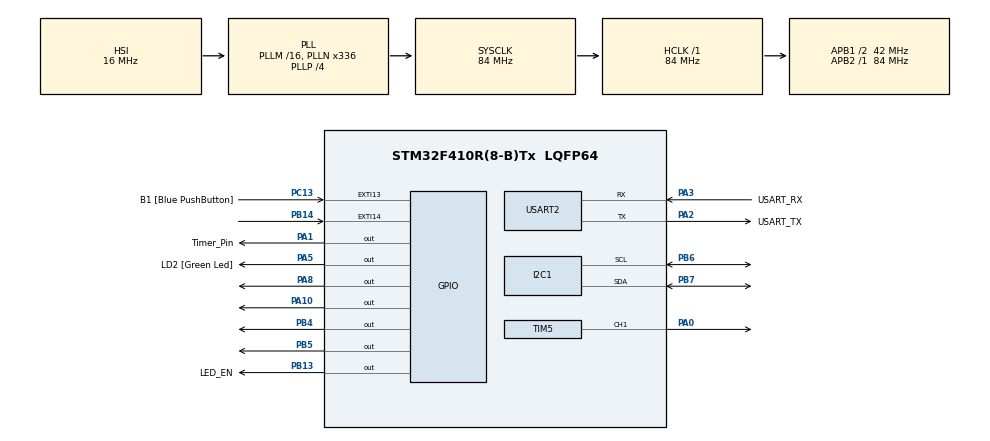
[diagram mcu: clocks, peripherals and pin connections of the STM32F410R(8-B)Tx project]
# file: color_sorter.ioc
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I2C1.I2C_Mode=I2C_Fast
Mcu.Family=STM32F4
Mcu.Name=STM32F410R(8-B)Tx
Mcu.Package=LQFP64
NVIC.EXTI15_10_IRQn=true\:0\:0\:false\:false\:true\:true\:true
NVIC.PriorityGroup=NVIC_PRIORITYGROUP_0
PA0-WKUP.Signal=S_TIM5_CH1
PA1.GPIO_Label=Timer_Pin
PA1.Signal=GPIO_Output
PA10.Signal=GPIO_Output
PA13.GPIO_Label=TMS
PA13.Mode=Serial_Wire
PA13.Signal=SYS_JTMS-SWDIO
PA14.GPIO_Label=TCK
PA14.Mode=Serial_Wire
PA14.Signal=SYS_JTCK-SWCLK
PA2.GPIO_Label=USART_TX
PA2.Mode=Asynchronous
PA2.Signal=USART2_TX
PA3.GPIO_Label=USART_RX
PA3.Mode=Asynchronous
PA3.Signal=USART2_RX
PA5.GPIO_Label=LD2 [Green Led]
PA5.Signal=GPIO_Output
PA8.Signal=GPIO_Output
PB13.GPIO_Label=LED_EN
PB13.GPIO_ModeDefaultOutputPP=GPIO_MODE_OUTPUT_OD
PB13.Signal=GPIO_Output
PB14.Signal=GPXTI14
PB3.GPIO_Label=SWO
PB3.Signal=SYS_JTDO-SWO
PB4.Signal=GPIO_Output
PB5.Signal=GPIO_Output
PB6.Mode=I2C
PB6.Signal=I2C1_SCL
PB7.Mode=I2C
PB7.Signal=I2C1_SDA
PC13-ANTI_TAMP.GPIO_Label=B1 [Blue PushButton]
PC13-ANTI_TAMP.GPIO_ModeDefaultEXTI=GPIO_MODE_IT_FALLING
PC13-ANTI_TAMP.Signal=GPXTI13
PC14-OSC32_IN.Mode=LSE-External-Oscillator
PC14-OSC32_IN.Signal=RCC_OSC32_IN
PC15-OSC32_OUT.Mode=LSE-External-Oscillator
PC15-OSC32_OUT.Signal=RCC_OSC32_OUT
PH0\ -\ OSC_IN.Mode=HSE-External-Clock-Source
PH0\ -\ OSC_IN.Signal=RCC_OSC_IN
PH1\ -\ OSC_OUT.Mode=HSE-External-Clock-Source
PH1\ -\ OSC_OUT.Signal=RCC_OSC_OUT
ProjectManager.HeapSize=0x200
ProjectManager.StackSize=0x400
ProjectManager.TargetToolchain=STM32CubeIDE
RCC.48MHZClocksFreq_Value=84000000
RCC.AHBFreq_Value=84000000
RCC.APB1CLKDivider=RCC_HCLK_DIV2
RCC.APB1Freq_Value=42000000
RCC.APB1TimFreq_Value=84000000
RCC.APB2Freq_Value=84000000
RCC.APB2TimFreq_Value=84000000
RCC.CortexFreq_Value=84000000
RCC.FLatency-AdvancedSettings=FLASH_LATENCY_2
RCC.HCLKFreq_Value=84000000
RCC.HSE_VALUE=8000000
RCC.HSI_VALUE=16000000
RCC.PLLN=336
RCC.PLLP=RCC_PLLP_DIV4
RCC.SYSCLKFreq_VALUE=84000000
RCC.SYSCLKSource=RCC_SYSCLKSOURCE_PLLCLK
RCC.VCOOutputFreq_Value=336000000
SH.S_TIM5_CH1.0=TIM5_CH1,PWM Generation1 CH1
TIM1.Period=0xfffe
TIM1.Prescaler=83
TIM5.AutoReloadPreload=TIM_AUTORELOAD_PRELOAD_ENABLE
TIM5.Channel-PWM\ Generation1\ CH1=TIM_CHANNEL_1
TIM5.Period=19999
TIM5.Prescaler=83
TIM5.Pulse-PWM\ Generation1\ CH1=0
USART2.VirtualMode=VM_ASYNC
VP_TIM1_VS_ClockSourceINT.Mode=Internal
VP_TIM5_VS_ClockSourceINT.Mode=Internal
board=NUCLEO-F410RB

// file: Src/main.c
/* USER CODE BEGIN Header */
/**
  ******************************************************************************
  * @file           : main.c
  * @brief          : Main program body
  ******************************************************************************
  * @attention
  *
  * <h2><center>&copy; Copyright (c) 2021 STMicroelectronics.
  * All rights reserved.</center></h2>
  *
  * This software component is licensed by ST under BSD 3-Clause license,
  * the "License"; You may not use this file except in compliance with the
  * License. You may obtain a copy of the License at:
  *                        opensource.org/licenses/BSD-3-Clause
  *
  ******************************************************************************
  */
/* USER CODE END Header */

#include "main.h"

/* USER CODE BEGIN Includes */
#include <stdio.h> //UART
#include <stdint.h>
#include "string.h"

/* USER CODE END Includes */

I2C_HandleTypeDef hi2c1;

TIM_HandleTypeDef htim1;
TIM_HandleTypeDef htim5;

UART_HandleTypeDef huart2;

/* USER CODE BEGIN PV */
uint8_t id;
RetVal ret;
RGBC raw_color;
DWORD color;
ByteStruct atime;
int led_on = 0;
/* USER CODE END PV */

void SystemClock_Config(void);
static void MX_GPIO_Init(void);
static void MX_USART2_UART_Init(void);
static void MX_I2C1_Init(void);
static void MX_TIM1_Init(void);
static void MX_TIM5_Init(void);
/* USER CODE BEGIN PFP */
void transmit_uart(char *string);
void int2uart(uint16_t input);
/* USER CODE END PFP */

int main(void)
{
  /* USER CODE BEGIN 1 */

	// PB14 - Interrupt input pin (To enable/disable TCS34725 LED)

  /* USER CODE END 1 */

  /* MCU Configuration--------------------------------------------------------*/

  /* Reset of all peripherals, Initializes the Flash interface and the Systick. */
  HAL_Init();

  /* Configure the system clock */
  SystemClock_Config();

  /* Initialize all configured peripherals */
  MX_GPIO_Init();
  MX_USART2_UART_Init();
  MX_I2C1_Init();
  MX_TIM1_Init();
  MX_TIM5_Init();
  /* USER CODE BEGIN 2 */
  HAL_TIM_PWM_Start(&htim5, TIM_CHANNEL_1);
  /* USER CODE END 2 */

  /* Infinite loop */
  /* USER CODE BEGIN WHILE */

  // Power On Sensor (Set PON bit)
  if (power_on(hi2c1) != HAL_OK) {
  	transmit_uart("ERROR: Failed to power on.\r\n");
  	return FAIL;
  } else {
  	transmit_uart("PASS: Power on sensor. \r\n");
  }

  HAL_Delay(3);
  if (start(hi2c1) != HAL_OK) {
  	transmit_uart("ERROR: Failed to start sensor in RGBC mode.\r\n");
  	return FAIL;
  } else {
  	transmit_uart("PASS: Sensor started in RGBC mode. \r\n");
  }

  // Check ID
  ByteStruct id = check_id(hi2c1);
  if (id.status != HAL_OK) {
  	transmit_uart("ERROR: Failed to check ID.\r\n");
  	return FAIL;
  } else {
  	transmit_uart("PASS: ID = ");
  	int2uart(id.val);
  	transmit_uart("\r\n");
  }

  // Check status
  ByteStruct stat = check_status(hi2c1);
  if (stat.status != HAL_OK) {
  	transmit_uart("ERROR: Failed to check status. \r\n");
  	return FAIL;
  } else {
  	transmit_uart("PASS: Status = ");
  	int2uart(stat.val);
  	transmit_uart("\r\n");
  }

  set_atime(hi2c1, INTEGRATION_TIME_154MS);

  ByteStruct atime = check_atime(hi2c1);
  if (atime.status != HAL_OK) {
  	transmit_uart("ERROR: Failed to check ATIME. \r\n");
  	return FAIL;
  } else {
  	transmit_uart("PASS: ATIME = ");
  	int2uart(atime.val);
  	transmit_uart("\r\n");
  }

  BYTE gain = check_gain(hi2c1);
  transmit_uart("PASS: Gain = ");
  int2uart(gain);
  transmit_uart("\r\n");

  Eflavour flavour;

  // Initiate variables
  int num_empty = 0;
  int max_retries = 7;
  int curr_degrees = 90;

  int order_delay = 25;
  int read_delay = 10;

  while (1)
  {
    /* USER CODE END WHILE */

    /* USER CODE BEGIN 3 */
  	if (led_on == 1) {

			// Check color
  		color = read_sensor(hi2c1, atime, read_delay, order_delay);
			flavour = check_colour_side(color);

			// If flavour is unknown, which indicates
			if (flavour == UNKNOWN) {
				num_empty++;
			} else {
				num_empty = 0;
			}

			// Print out
			/*
			BYTE red = color >> 16;
			BYTE green = (color >> 8) & 0xFF;
			BYTE blue = color & 0xFF;

			transmit_uart("R: ");
			int2uart(red);
			transmit_uart(" | G: ");
			int2uart(green);
			transmit_uart(" | B: ");
			int2uart(blue);
			transmit_uart(" >>> ");
			*/

			switch (flavour) {
			case UNKNOWN:
				transmit_uart(" Empty\r\n");
				break;
			case LEMON:
				transmit_uart(" Lemon\r\n");
				break;
			case GREEN_APPLE:
				transmit_uart(" Green Apple\r\n");
				break;
			case STRAWBERRY:
				transmit_uart(" Strawberry\r\n");
				break;
			case ORANGE:
				transmit_uart(" Orange\r\n");
				break;
			case GRAPE:
				transmit_uart(" Grape\r\n");
				break;
			default:
				transmit_uart(" Default\r\n");
				break;
			}

			// Rotate Distributor
			curr_degrees = rotate_distributor(flavour, curr_degrees, order_delay);

			// Rotate Orderly motor
  		rotate_orderly(order_delay);

			// Rotate Revolver motor by 60 degrees at each interval
  		rotate_revolver(order_delay);

			// If no skittles detected 6 times, then no more skittles in hopper. End process.
			if (num_empty >= max_retries) {
				transmit_uart("\r\n NO MORE SKITTLES DETECTED. END.");
				return 0;
			}
  	}
  }
  /* USER CODE END 3 */
}

void SystemClock_Config(void)
{
  RCC_OscInitTypeDef RCC_OscInitStruct = {0};
  RCC_ClkInitTypeDef RCC_ClkInitStruct = {0};

  /** Configure the main internal regulator output voltage
  */
  __HAL_RCC_PWR_CLK_ENABLE();
  __HAL_PWR_VOLTAGESCALING_CONFIG(PWR_REGULATOR_VOLTAGE_SCALE1);
  /** Initializes the CPU, AHB and APB busses clocks
  */
  RCC_OscInitStruct.OscillatorType = RCC_OSCILLATORTYPE_HSI;
  RCC_OscInitStruct.HSIState = RCC_HSI_ON;
  RCC_OscInitStruct.HSICalibrationValue = RCC_HSICALIBRATION_DEFAULT;
  RCC_OscInitStruct.PLL.PLLState = RCC_PLL_ON;
  RCC_OscInitStruct.PLL.PLLSource = RCC_PLLSOURCE_HSI;
  RCC_OscInitStruct.PLL.PLLM = 16;
  RCC_OscInitStruct.PLL.PLLN = 336;
  RCC_OscInitStruct.PLL.PLLP = RCC_PLLP_DIV4;
  RCC_OscInitStruct.PLL.PLLQ = 4;
  RCC_OscInitStruct.PLL.PLLR = 2;
  if (HAL_RCC_OscConfig(&RCC_OscInitStruct) != HAL_OK)
  {
    Error_Handler();
  }
  /** Initializes the CPU, AHB and APB busses clocks
  */
  RCC_ClkInitStruct.ClockType = RCC_CLOCKTYPE_HCLK|RCC_CLOCKTYPE_SYSCLK
                              |RCC_CLOCKTYPE_PCLK1|RCC_CLOCKTYPE_PCLK2;
  RCC_ClkInitStruct.SYSCLKSource = RCC_SYSCLKSOURCE_PLLCLK;
  RCC_ClkInitStruct.AHBCLKDivider = RCC_SYSCLK_DIV1;
  RCC_ClkInitStruct.APB1CLKDivider = RCC_HCLK_DIV2;
  RCC_ClkInitStruct.APB2CLKDivider = RCC_HCLK_DIV1;

  if (HAL_RCC_ClockConfig(&RCC_ClkInitStruct, FLASH_LATENCY_2) != HAL_OK)
  {
    Error_Handler();
  }
}

static void MX_I2C1_Init(void)
{

  hi2c1.Instance = I2C1;
  hi2c1.Init.ClockSpeed = 400000;
  hi2c1.Init.DutyCycle = I2C_DUTYCYCLE_2;
  hi2c1.Init.OwnAddress1 = 0;
  hi2c1.Init.AddressingMode = I2C_ADDRESSINGMODE_7BIT;
  hi2c1.Init.DualAddressMode = I2C_DUALADDRESS_DISABLE;
  hi2c1.Init.OwnAddress2 = 0;
  hi2c1.Init.GeneralCallMode = I2C_GENERALCALL_DISABLE;
  hi2c1.Init.NoStretchMode = I2C_NOSTRETCH_DISABLE;
  if (HAL_I2C_Init(&hi2c1) != HAL_OK)
  {
    Error_Handler();
  }

}

static void MX_TIM1_Init(void)
{

  TIM_ClockConfigTypeDef sClockSourceConfig = {0};
  TIM_MasterConfigTypeDef sMasterConfig = {0};

  htim1.Instance = TIM1;
  htim1.Init.Prescaler = 83;
  htim1.Init.CounterMode = TIM_COUNTERMODE_UP;
  htim1.Init.Period = 0xfffe;
  htim1.Init.ClockDivision = TIM_CLOCKDIVISION_DIV1;
  htim1.Init.RepetitionCounter = 0;
  htim1.Init.AutoReloadPreload = TIM_AUTORELOAD_PRELOAD_DISABLE;
  if (HAL_TIM_Base_Init(&htim1) != HAL_OK)
  {
    Error_Handler();
  }
  sClockSourceConfig.ClockSource = TIM_CLOCKSOURCE_INTERNAL;
  if (HAL_TIM_ConfigClockSource(&htim1, &sClockSourceConfig) != HAL_OK)
  {
    Error_Handler();
  }
  sMasterConfig.MasterOutputTrigger = TIM_TRGO_RESET;
  sMasterConfig.MasterSlaveMode = TIM_MASTERSLAVEMODE_DISABLE;
  if (HAL_TIMEx_MasterConfigSynchronization(&htim1, &sMasterConfig) != HAL_OK)
  {
    Error_Handler();
  }

}

static void MX_TIM5_Init(void)
{

  TIM_ClockConfigTypeDef sClockSourceConfig = {0};
  TIM_MasterConfigTypeDef sMasterConfig = {0};
  TIM_OC_InitTypeDef sConfigOC = {0};

  htim5.Instance = TIM5;
  htim5.Init.Prescaler = 83;
  htim5.Init.CounterMode = TIM_COUNTERMODE_UP;
  htim5.Init.Period = 19999;
  htim5.Init.ClockDivision = TIM_CLOCKDIVISION_DIV1;
  htim5.Init.AutoReloadPreload = TIM_AUTORELOAD_PRELOAD_ENABLE;
  if (HAL_TIM_Base_Init(&htim5) != HAL_OK)
  {
    Error_Handler();
  }
  sClockSourceConfig.ClockSource = TIM_CLOCKSOURCE_INTERNAL;
  if (HAL_TIM_ConfigClockSource(&htim5, &sClockSourceConfig) != HAL_OK)
  {
    Error_Handler();
  }
  if (HAL_TIM_PWM_Init(&htim5) != HAL_OK)
  {
    Error_Handler();
  }
  sMasterConfig.MasterOutputTrigger = TIM_TRGO_RESET;
  sMasterConfig.MasterSlaveMode = TIM_MASTERSLAVEMODE_DISABLE;
  if (HAL_TIMEx_MasterConfigSynchronization(&htim5, &sMasterConfig) != HAL_OK)
  {
    Error_Handler();
  }
  sConfigOC.OCMode = TIM_OCMODE_PWM1;
  sConfigOC.Pulse = 0;
  sConfigOC.OCPolarity = TIM_OCPOLARITY_HIGH;
  sConfigOC.OCFastMode = TIM_OCFAST_DISABLE;
  if (HAL_TIM_PWM_ConfigChannel(&htim5, &sConfigOC, TIM_CHANNEL_1) != HAL_OK)
  {
    Error_Handler();
  }
  HAL_TIM_MspPostInit(&htim5);

}

static void MX_USART2_UART_Init(void)
{

  huart2.Instance = USART2;
  huart2.Init.BaudRate = 115200;
  huart2.Init.WordLength = UART_WORDLENGTH_8B;
  huart2.Init.StopBits = UART_STOPBITS_1;
  huart2.Init.Parity = UART_PARITY_NONE;
  huart2.Init.Mode = UART_MODE_TX_RX;
  huart2.Init.HwFlowCtl = UART_HWCONTROL_NONE;
  huart2.Init.OverSampling = UART_OVERSAMPLING_16;
  if (HAL_UART_Init(&huart2) != HAL_OK)
  {
    Error_Handler();
  }

}

static void MX_GPIO_Init(void)
{
  GPIO_InitTypeDef GPIO_InitStruct = {0};

  /* GPIO Ports Clock Enable */
  __HAL_RCC_GPIOC_CLK_ENABLE();
  __HAL_RCC_GPIOH_CLK_ENABLE();
  __HAL_RCC_GPIOA_CLK_ENABLE();
  __HAL_RCC_GPIOB_CLK_ENABLE();

  /*Configure GPIO pin Output Level */
  HAL_GPIO_WritePin(GPIOA, Timer_Pin_Pin|LD2_Pin|GPIO_PIN_8|GPIO_PIN_10, GPIO_PIN_RESET);

  /*Configure GPIO pin Output Level */
  HAL_GPIO_WritePin(GPIOB, LED_EN_Pin|GPIO_PIN_4|GPIO_PIN_5, GPIO_PIN_RESET);

  /*Configure GPIO pin : B1_Pin */
  GPIO_InitStruct.Pin = B1_Pin;
  GPIO_InitStruct.Mode = GPIO_MODE_IT_FALLING;
  GPIO_InitStruct.Pull = GPIO_NOPULL;
  HAL_GPIO_Init(B1_GPIO_Port, &GPIO_InitStruct);

  /*Configure GPIO pins : Timer_Pin_Pin LD2_Pin PA8 PA10 */
  GPIO_InitStruct.Pin = Timer_Pin_Pin|LD2_Pin|GPIO_PIN_8|GPIO_PIN_10;
  GPIO_InitStruct.Mode = GPIO_MODE_OUTPUT_PP;
  GPIO_InitStruct.Pull = GPIO_NOPULL;
  GPIO_InitStruct.Speed = GPIO_SPEED_FREQ_LOW;
  HAL_GPIO_Init(GPIOA, &GPIO_InitStruct);

  /*Configure GPIO pin : LED_EN_Pin */
  GPIO_InitStruct.Pin = LED_EN_Pin;
  GPIO_InitStruct.Mode = GPIO_MODE_OUTPUT_OD;
  GPIO_InitStruct.Pull = GPIO_NOPULL;
  GPIO_InitStruct.Speed = GPIO_SPEED_FREQ_LOW;
  HAL_GPIO_Init(LED_EN_GPIO_Port, &GPIO_InitStruct);

  /*Configure GPIO pin : PB14 */
  GPIO_InitStruct.Pin = GPIO_PIN_14;
  GPIO_InitStruct.Mode = GPIO_MODE_IT_RISING;
  GPIO_InitStruct.Pull = GPIO_NOPULL;
  HAL_GPIO_Init(GPIOB, &GPIO_InitStruct);

  /*Configure GPIO pins : PB4 PB5 */
  GPIO_InitStruct.Pin = GPIO_PIN_4|GPIO_PIN_5;
  GPIO_InitStruct.Mode = GPIO_MODE_OUTPUT_PP;
  GPIO_InitStruct.Pull = GPIO_NOPULL;
  GPIO_InitStruct.Speed = GPIO_SPEED_FREQ_LOW;
  HAL_GPIO_Init(GPIOB, &GPIO_InitStruct);

  /* EXTI interrupt init*/
  HAL_NVIC_SetPriority(EXTI15_10_IRQn, 0, 0);
  HAL_NVIC_EnableIRQ(EXTI15_10_IRQn);

}

/* USER CODE BEGIN 4 */
void transmit_uart(char *string){
	uint8_t len = strlen(string);
	HAL_UART_Transmit(&huart2, (uint8_t*) string, len, 200);
}

void int2uart(uint16_t input){
	char text[20];
	sprintf(text, "%d", input);
	char *p = text;
	transmit_uart(p);
	//transmit_uart("\r\n");
}

void HAL_GPIO_EXTI_Callback(uint16_t GPIO_Pin)
{
  /* Prevent unused argument(s) compilation warning */
  UNUSED(GPIO_Pin);
  /* NOTE: This function Should not be modified, when the callback is needed,
           the HAL_GPIO_EXTI_Callback could be implemented in the user file
   */
	// Toggle color sensor LED
  HAL_GPIO_TogglePin(LED_EN_PORT, LED_EN_PIN);
	transmit_uart("TOGGLED\r\n");
	led_on = !led_on;

	// Switch bounce
	for (uint32_t i=0; i < 100000; i++);
}
/* USER CODE END 4 */

void Error_Handler(void)
{
}

/************************ (C) COPYRIGHT STMicroelectronics *****END OF FILE****/
